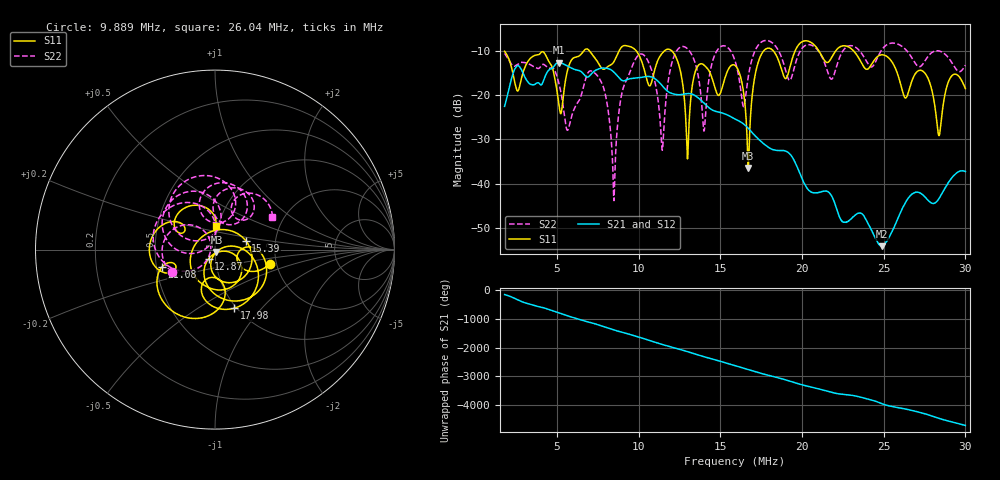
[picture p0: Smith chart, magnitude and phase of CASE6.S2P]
!Agilent Technologies,E5061B,MY49101568,A.02.00
!Date: Wed Mar 01 15:54:23 2023
!Data & Calibration Information:
!Freq	S11:SOLT2(OFF)	S21:SOLT2(OFF)	S12:SOLT2(OFF)	S22:SOLT2(OFF)
# Hz S dB R 50
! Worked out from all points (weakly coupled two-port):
!   1155 points, 1.8 MHz to 30 MHz, reference 50 ohm
!   highest |S21| = -12.54 dB at 5.123 MHz (marker M1); lowest = -54.2 dB at 24.92 MHz (marker M2)
!   lowest |S11| = -36.5 dB at 16.71 MHz (marker M3), VSWR 1.03, Z = 50.8 - j1.27 ohm
!   |S11| at or under -10 dB: 1.805 MHz to 6.615 MHz (4.81 MHz wide, 114 % of centre); 12.06 MHz to 17.63 MHz (5.573 MHz wide, 37.5 % of centre); 23.18 MHz to end of sweep (the widest 3 of 7)
!   |S22| runs from -43.9 to -7.5 dB; largest |S21 - S12| = 0.0031
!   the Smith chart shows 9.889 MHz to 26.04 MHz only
!   S11 on the Smith chart (normalised r, x): 9.889 MHz: 1.84, -0.33; 12.87 MHz: 0.93, -0.09; 15.39 MHz: 1.40, +0.14; 17.98 MHz: 0.98, -0.72; 21.08 MHz: 0.54, -0.11; 26.04 MHz: 0.97, +0.26
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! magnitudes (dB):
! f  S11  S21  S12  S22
! 1.8 MHz  -10.0  -22.5  -22.5  -10.4
! 5.123 MHz  -22.0  -12.5  -12.5  -17.3
! 5.637 MHz  -14.5  -13.3  -13.3  -27.9
! 6.516 MHz  -10.5  -14.7  -14.6  -19.6
! 7.763 MHz  -13.9  -13.8  -13.7  -17.3
! 8.496 MHz  -12.3  -14.7  -14.7  -43.9
! 9.889 MHz  -10.1  -16.1  -16.1  -11.3
! 11.21 MHz  -11.8  -16.9  -16.9  -21.6
! 11.48 MHz  -10.3  -17.9  -18.0  -31.8
! 12.87 MHz  -24.3  -19.6  -19.7  -9.1
! 13.99 MHz  -13.1  -21.7  -21.7  -28.1
! 15.39 MHz  -15.0  -24.4  -24.5  -8.9
! 15.9 MHz  -13.2  -25.3  -25.4  -12.1
! 16.71 MHz  -36.5  -27.4  -27.5  -15.9
! 17.98 MHz  -9.3  -31.9  -32.0  -7.6
! 20.62 MHz  -8.1  -42.0  -42.0  -8.7
! 21.08 MHz  -10.2  -42.0  -41.9  -10.3
! 24.92 MHz  -10.8  -54.2  -54.1  -9.5
! 25.31 MHz  -11.5  -52.4  -52.2  -8.3
! 26.04 MHz  -17.5  -46.4  -46.4  -8.7
! 28.39 MHz  -29.2  -43.4  -43.3  -9.9
! 30 MHz  -18.4  -37.3  -37.2  -13.1
